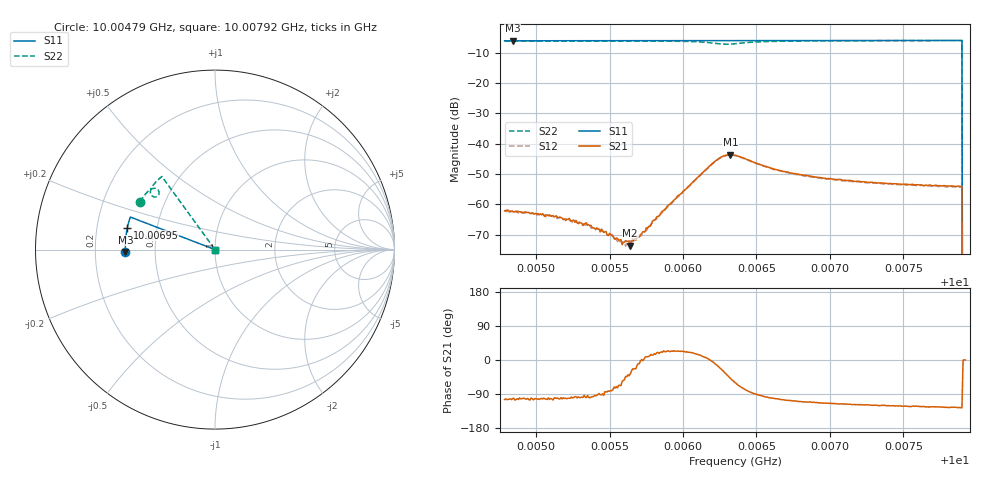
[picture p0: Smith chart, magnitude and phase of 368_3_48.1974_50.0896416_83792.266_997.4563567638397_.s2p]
#  HZ  S  RI  R  50.00
! Rohde & Schwarz Vector Network Analyzer
! Rohde-Schwarz,ZNB20-2Port,1311601062101988,3.16
! Created: UTC 3/20/2024, 11:52:36 AM
! freq[Hz]  re:S11  im:S11  re:S21  im:S21  re:S12  im:S12  re:S22  im:S22
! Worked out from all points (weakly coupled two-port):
!   401 points, 10.00479 GHz to 10.00792 GHz, reference 50 ohm
!   highest |S21| = -43.59 dB at 10.00632 GHz (marker M1); lowest = -73.6 dB at 10.00564 GHz (marker M2)
!   lowest |S11| = -6.0 dB at 10.00484 GHz (marker M3), VSWR 2.99, Z = 16.7 - j0.563 ohm
!   |S11| at or under -10 dB: 10.0079 GHz to end of sweep
!   |S22| runs from - to -6.0 dB; largest |S21 - S12| = 0.00038
!   S11 on the Smith chart (normalised r, x): 10.00479 GHz: 0.33, -0.01; 10.00695 GHz: 0.33, +0.11; 10.00792 GHz: 1.00, +0.00
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1.0004785e10  -0.499 -0.016  -0.000191 -0.000758  -0.000147 -0.000785  -0.4167 0.265
1.000484e10  -0.4989 -0.0127  -0.000156 -0.000751  -0.000124 -0.000771  -0.4146 0.2682
1.0005123e10  -0.4998 0.00584  -0.000118 -0.000615  -9.36e-05 -0.000601  -0.4047 0.285
1.0005311e10  -0.4999 0.018  -6.5e-05 -0.000484  -8.39e-06 -0.000469  -0.3971 0.2961
1.000535e10  -0.4999 0.0205  -3.15e-05 -0.000452  -3.15e-05 -0.000453  -0.3952 0.2983
1.0005428e10  -0.4999 0.0257  1.09e-05 -0.000392  1.8e-05 -0.000388  -0.3919 0.3031
1.0005475e10  -0.4997 0.0287  3.73e-05 -0.000357  3.99e-05 -0.000318  -0.3898 0.306
1.0005522e10  -0.4997 0.0317  6.04e-05 -0.000299  0.000116 -0.000272  -0.3876 0.3089
1.0005593e10  -0.4995 0.0363  0.000141 -0.000191  0.000129 -0.000195  -0.3841 0.3134
1.000564e10  -0.4993 0.0394  0.000165 -0.000126  0.000223 -0.000121  -0.3814 0.3162
1.0005711e10  -0.4991 0.0439  0.000316 -1.01e-05  0.000299 9.59e-06  -0.3776 0.3206
1.0005836e10  -0.4986 0.052  0.000613 0.000191  0.000581 0.000248  -0.3689 0.3284
1.0006205e10  -0.4958 0.0758  0.00481 -0.000461  0.00473 -0.000264  -0.3162 0.3305
1.0006267e10  -0.4952 0.0794  0.00548 -0.00283  0.0055 -0.00248  -0.3123 0.3102
1.0006322e10  -0.4948 0.0829  0.00438 -0.00496  0.00454 -0.00462  -0.3251 0.2949
1.0006354e10  -0.4946 0.0847  0.00328 -0.00556  0.0035 -0.00531  -0.3356 0.2929
1.0006636e10  -0.4922 0.1028  -0.000804 -0.00366  -0.000639 -0.00363  -0.3582 0.3337
1.0006879e10  -0.4894 0.1184  -0.00105 -0.00268  -0.0009 -0.00267  -0.3472 0.3548
1.000695e10  -0.4884 0.1228  -0.00109 -0.00251  -0.000962 -0.0025  -0.3439 0.3595
1.0007404e10  -0.4813 0.1512  -0.00113 -0.0019  -0.00103 -0.00192  -0.3212 0.3848
1.0007883e10  -0.4721 0.1806  -0.00114 -0.00163  -0.00103 -0.0016  -0.2968 0.4067
1.0007922e10  0 0  0 0  0 0  0 0
